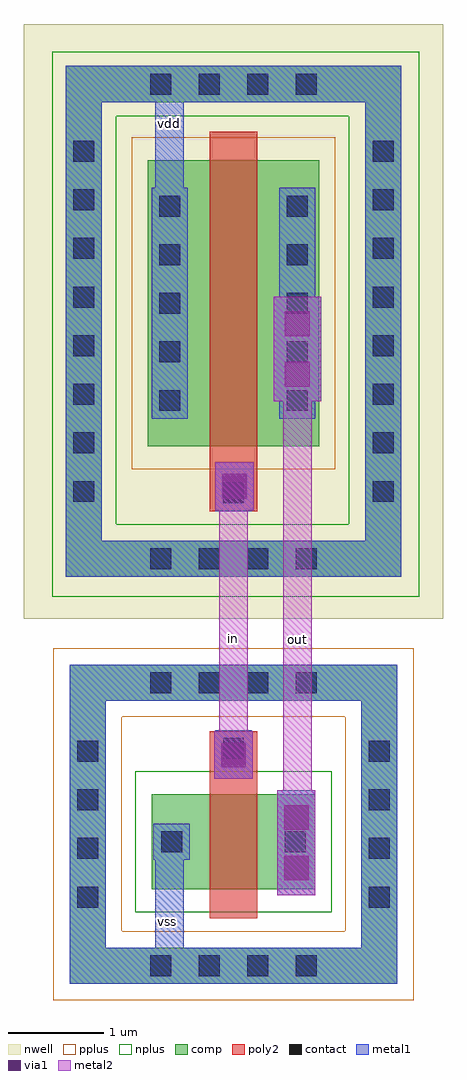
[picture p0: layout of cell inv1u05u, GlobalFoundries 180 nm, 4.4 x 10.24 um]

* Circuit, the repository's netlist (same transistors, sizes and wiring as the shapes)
** sch_path: /foss/designs/libs/core_analog/inv1u05u/inv1u05u.sch
.subckt inv1u05u in vdd out vss
*.PININFO in:B out:B vss:B vdd:B
XM1 out in vdd vdd pfet_03v3 L=0.5u W=3.0u nf=1 m=1
XM2 out in vss vss nfet_03v3 L=0.5u W=1.0u nf=1 m=1
.ends

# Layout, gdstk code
import gdstk
lib = gdstk.Library(unit=1e-6, precision=5e-09)
def R(c, l, rs):  # rectangles x0, y0, x1, y1
    for r in rs: c.add(gdstk.rectangle(r[:2], r[2:], *l))
def A(c, l, x, y, w, h, nx, ny, dx, dy):  # array of equal rectangles
    R(c, l, [(x+i*dx, y+j*dy, x+i*dx+w, y+j*dy+h) for i in range(nx) for j in range(ny)])
def P(c, l, *ps):  # polygons
    for p in ps: c.add(gdstk.Polygon(p, *l))
nwell = (21, 0)
comp = (22, 0)
poly2 = (30, 0)
pplus = (31, 0)
nplus = (32, 0)
contact = (33, 0)
metal1 = (34, 0)
via1 = (35, 0)
metal2 = (36, 0)

pfet = lib.new_cell('pfet')
R(pfet, nwell, [(-1.76,-1.81,2.64,4.43)])
R(pfet, comp, [(-0.46,0,0,3), (0,0,0.88,3), (0.88,0,1.34,3)])
P(pfet, comp, [(-1.32,-1.37),(-1.32,3.61),(-0.94,3.61),(-0.94,-0.99),(1.82,-0.99),(1.82,3.61),(-1.32,3.61),(-1.32,3.99),(2.2,3.99),(2.2,-1.37)])
R(pfet, poly2, [(0.19,-0.68,0.69,-0.3), (0.19,-0.3,0.69,3.3)])
R(pfet, pplus, [(-0.63,-0.24,1.51,3.24)])
A(pfet, contact, -0.435, -1.29, 0.22, 0.22, 4, 2, 0.51, 4.98)
A(pfet, contact, -1.24, -0.585, 0.22, 0.22, 1, 8, 0, 0.51)
A(pfet, contact, 1.9, -0.585, 0.22, 0.22, 1, 8, 0, 0.51)
A(pfet, contact, -0.34, 0.37, 0.22, 0.22, 1, 5, 0, 0.51)
A(pfet, contact, 1, 0.37, 0.22, 0.22, 1, 5, 0, 0.51)
R(pfet, contact, [(0.33,-0.6,0.55,-0.38)])
R(pfet, metal1, [(0.25,-0.68,0.63,-0.3), (-0.42,0.29,-0.04,2.71), (0.92,0.29,1.3,2.71)])

via_dev_2 = lib.new_cell('via_dev$2')
R(via_dev_2, metal1, [(0,0,0.4,0.5)])
R(via_dev_2, via1, [(0.07,0.12,0.33,0.38)])
R(via_dev_2, metal2, [(0,0,0.4,0.5)])

via_dev = lib.new_cell('via_dev')
R(via_dev, metal1, [(0,0,0.5,1.1)])
R(via_dev, via1, [(0.12,0.155,0.38,0.415), (0.12,0.685,0.38,0.945)])
R(via_dev, metal2, [(0,0,0.5,1.1)])

via_dev_3 = lib.new_cell('via_dev$3')
R(via_dev_3, metal1, [(0,0,0.4,1.1)])
R(via_dev_3, via1, [(0.07,0.155,0.33,0.415), (0.07,0.685,0.33,0.945)])
R(via_dev_3, metal2, [(0,0,0.4,1.1)])

nfet_1 = lib.new_cell('nfet$1')
R(nfet_1, comp, [(-0.42,0,0,1), (0,0,0.88,1), (0.88,0,1.3,1)])
P(nfet_1, comp, [(-1.28,-0.99),(-1.28,1.98),(-0.9,1.98),(-0.9,-0.61),(1.78,-0.61),(1.78,1.98),(-1.28,1.98),(-1.28,2.36),(2.16,2.36),(2.16,-0.99)])
R(nfet_1, poly2, [(0.19,-0.3,0.69,1.3), (0.19,1.3,0.69,1.66)])
P(nfet_1, pplus, [(-1.45,-1.16),(-1.45,1.81),(-0.73,1.81),(-0.73,-0.44),(1.61,-0.44),(1.61,1.81),(-1.45,1.81),(-1.45,2.53),(2.33,2.53),(2.33,-1.16)])
R(nfet_1, nplus, [(-0.59,-0.24,1.47,1.24)])
A(nfet_1, contact, -0.435, -0.91, 0.22, 0.22, 4, 2, 0.51, 2.97)
A(nfet_1, contact, -1.2, -0.19, 0.22, 0.22, 1, 4, 0, 0.51)
A(nfet_1, contact, 1.86, -0.19, 0.22, 0.22, 1, 4, 0, 0.51)
R(nfet_1, contact, [(-0.32,0.39,-0.1,0.61), (0.98,0.39,1.2,0.61), (0.33,1.37,0.55,1.59)])
R(nfet_1, metal1, [(-0.4,0.31,-0.02,0.69), (0.9,0.31,1.28,0.69), (0.25,1.29,0.63,1.67)])

inv1u05u = lib.new_cell('inv1u05u')
R(inv1u05u, nplus, [(1.15,4.7,1.82,10.42), (1.15,4.7,5,5.46), (4.26,4.7,5,10.42), (1.15,9.74,5,10.42)])
R(inv1u05u, metal1, [(1.33,0.64,1.71,3.61), (1.71,0.64,4.39,1.02), (4.39,0.64,4.77,3.61), (1.33,3.61,4.77,3.99), (1.29,4.91,4.81,5.29), (4.43,4.91,4.81,10.27), (1.29,5.29,1.67,9.89), (1.29,9.89,1.72,10.27), (1.72,9.89,4.43,10.27), (4.43,9.89,4.81,10.27)])
inv1u05u.add(gdstk.FlexPath([(2.38,2.02),(2.38,0.72)], 0.3, ends="flush", simple_path=True, layer=34, datatype=0))  # metal1
inv1u05u.add(gdstk.FlexPath([(2.38,8.18),(2.38,10.19)], 0.3, ends="flush", simple_path=True, layer=34, datatype=0))  # metal1
inv1u05u.add(gdstk.FlexPath([(3.05,5.68),(3.05,2.79)], 0.3, ends="flush", simple_path=True, layer=36, datatype=0))  # metal2
inv1u05u.add(gdstk.FlexPath([(3.72,7.16),(3.72,2.13)], 0.3, ends="flush", simple_path=True, layer=36, datatype=0))  # metal2
inv1u05u.add(gdstk.Reference(pfet, (2.61,6.28)))
inv1u05u.add(gdstk.Reference(via_dev_2, (2.86,5.61)))
inv1u05u.add(gdstk.Reference(via_dev, (3.47,6.75)))
inv1u05u.add(gdstk.Reference(via_dev_3, (3.51,1.57)))
inv1u05u.add(gdstk.Reference(via_dev_2, (2.85,2.79)))
inv1u05u.add(gdstk.Reference(nfet_1, (2.61,1.63)))
inv1u05u.add(gdstk.Label('vss', (2.36,1.29), layer=34, texttype=10))
inv1u05u.add(gdstk.Label('vdd', (2.38,9.67), layer=34, texttype=10))
inv1u05u.add(gdstk.Label('out', (3.72,4.25), layer=36, texttype=10))
inv1u05u.add(gdstk.Label('in', (3.05,4.26), layer=36, texttype=10))

lib.write_gds('inv1u05u.gds')
